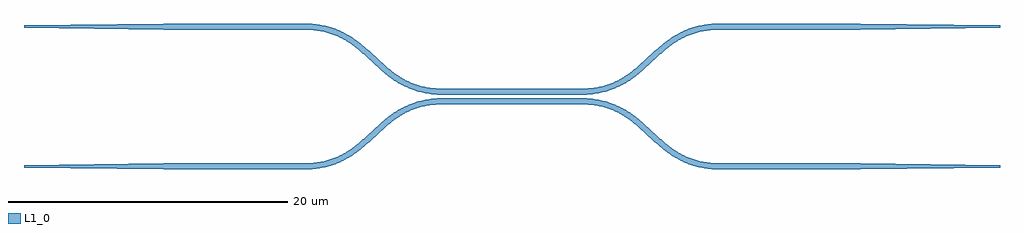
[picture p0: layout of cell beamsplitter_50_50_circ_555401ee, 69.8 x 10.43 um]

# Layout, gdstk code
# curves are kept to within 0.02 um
from math import pi, radians
import gdstk
lib = gdstk.Library(unit=1e-6, precision=1e-09)
def R(c, l, rs):  # rectangles x0, y0, x1, y1
    for r in rs: c.add(gdstk.rectangle(r[:2], r[2:], *l))
def P(c, l, *ps):  # polygons
    for p in ps: c.add(gdstk.Polygon(p, *l))
L1_0 = (1, 0)

coupler_g0p25_l9p8_d10__ = lib.new_cell('coupler_G0p25_L9p8_D10__d2dc9b76')
P(coupler_g0p25_l9p8_d10__, L1_0, [(-10,-4.875),(-10,-4.445),(-9.161,-4.396),(-8.309,-4.229),(-7.566,-3.961),(-6.91,-3.611),(-6.397,-3.259),(-5.994,-2.937),(-4.033,-1.19),(-3.504,-0.804),(-2.923,-0.459),(-2.391,-0.214),(-1.683,0.016),(-1.029,0.145),(-0.156,0.214),(9.956,0.214),(10.69,0.163),(11.357,0.046),(11.964,-0.129),(12.409,-0.307),(12.824,-0.513),(13.304,-0.804),(14.164,-1.463),(15.953,-3.068),(16.449,-3.44),(16.982,-3.77),(17.673,-4.087),(18.34,-4.288),(19.094,-4.411),(19.8,-4.445),(19.8,-4.875),(19.342,-4.862),(18.771,-4.805),(18.117,-4.676),(17.636,-4.531),(17.084,-4.304),(16.484,-3.977),(15.852,-3.537),(15.275,-3.057),(13.806,-1.723),(13.065,-1.162),(12.618,-0.89),(12.133,-0.656),(11.604,-0.464),(11.141,-0.346),(10.506,-0.249),(9.947,-0.216),(-0.147,-0.216),(-0.839,-0.264),(-1.577,-0.401),(-2.231,-0.614),(-2.91,-0.942),(-3.436,-1.279),(-4.006,-1.723),(-5.475,-3.057),(-6.052,-3.537),(-6.684,-3.977),(-7.284,-4.304),(-7.836,-4.531),(-8.571,-4.735),(-9.251,-4.839)],
  [(0,0.465),(-0.749,0.501),(-1.557,0.634),(-2.278,0.851),(-2.923,1.139),(-3.504,1.484),(-4.033,1.87),(-5.994,3.617),(-6.397,3.939),(-6.91,4.291),(-7.566,4.641),(-8.309,4.909),(-9.161,5.076),(-10,5.125),(-10,5.555),(-9.251,5.519),(-8.571,5.415),(-7.836,5.211),(-7.284,4.984),(-6.684,4.657),(-6.052,4.217),(-5.475,3.737),(-3.847,2.272),(-3.351,1.9),(-2.818,1.57),(-2.127,1.253),(-1.46,1.052),(-0.706,0.929),(0,0.895),(9.947,0.896),(10.639,0.944),(11.26,1.052),(11.822,1.215),(12.234,1.379),(12.71,1.622),(13.151,1.9),(13.962,2.537),(15.683,4.083),(16.296,4.536),(16.877,4.881),(17.522,5.169),(18.243,5.386),(19.051,5.519),(19.8,5.555),(19.8,5.125),(18.961,5.076),(18.223,4.939),(17.467,4.684),(16.799,4.345),(15.953,3.748),(14.164,2.143),(13.395,1.546),(12.923,1.248),(12.516,1.036),(11.964,0.809),(11.483,0.664),(10.829,0.535),(9.956,0.466)])

taper_l10_w0p43_w0p2_pn_ = lib.new_cell('taper_L10_W0p43_W0p2_PN_df4b8446')
P(taper_l10_w0p43_w0p2_pn_, L1_0, [(0,-0.215),(0,0.215),(10,0.1),(10,-0.1)])

straight_l10_n2_csxs_253 = lib.new_cell('straight_L10_N2_CSxs_253683c2')
R(straight_l10_n2_csxs_253, L1_0, [(0,-0.215,10,0.215)])

beamsplitter_50_50_circ_ = lib.new_cell('beamsplitter_50_50_circ_555401ee')
beamsplitter_50_50_circ_.add(gdstk.Reference(coupler_g0p25_l9p8_d10__, (0,0)))
beamsplitter_50_50_circ_.add(gdstk.Reference(taper_l10_w0p43_w0p2_pn_, (-20,-4.66), rotation=pi))
beamsplitter_50_50_circ_.add(gdstk.Reference(taper_l10_w0p43_w0p2_pn_, (-20,5.34), rotation=pi))
beamsplitter_50_50_circ_.add(gdstk.Reference(taper_l10_w0p43_w0p2_pn_, (29.8,5.34)))
beamsplitter_50_50_circ_.add(gdstk.Reference(taper_l10_w0p43_w0p2_pn_, (29.8,-4.66)))
beamsplitter_50_50_circ_.add(gdstk.Reference(straight_l10_n2_csxs_253, (-10,-4.66), rotation=pi))
beamsplitter_50_50_circ_.add(gdstk.Reference(straight_l10_n2_csxs_253, (-10,5.34), rotation=pi))
beamsplitter_50_50_circ_.add(gdstk.Reference(straight_l10_n2_csxs_253, (19.8,5.34)))
beamsplitter_50_50_circ_.add(gdstk.Reference(straight_l10_n2_csxs_253, (19.8,-4.66)))

lib.write_gds('beamsplitter_50_50_circ_555401ee.gds')
